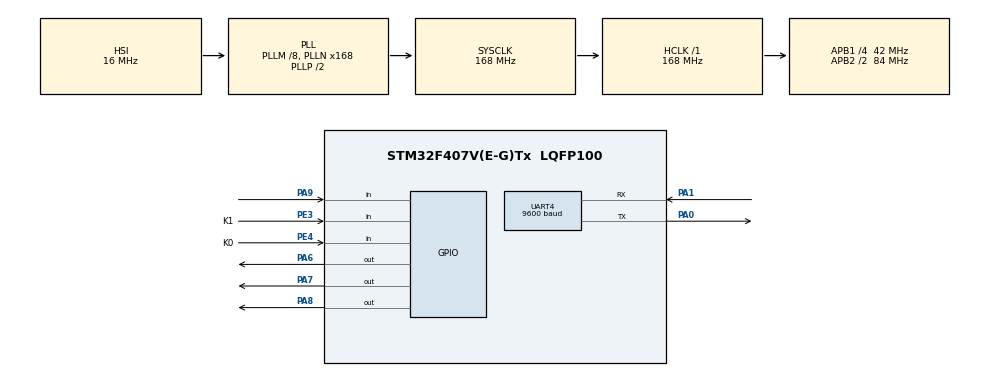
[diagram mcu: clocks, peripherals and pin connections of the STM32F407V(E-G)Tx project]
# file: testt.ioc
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Mcu.Family=STM32F4
Mcu.Name=STM32F407V(E-G)Tx
Mcu.Package=LQFP100
NVIC.PriorityGroup=NVIC_PRIORITYGROUP_4
NVIC.UART4_IRQn=true\:0\:0\:false\:false\:true\:true\:true\:true
PA0-WKUP.Mode=Asynchronous
PA0-WKUP.Signal=UART4_TX
PA1.Mode=Asynchronous
PA1.Signal=UART4_RX
PA13.Mode=Serial_Wire
PA13.Signal=SYS_JTMS-SWDIO
PA14.Mode=Serial_Wire
PA14.Signal=SYS_JTCK-SWCLK
PA6.Signal=GPIO_Output
PA7.Signal=GPIO_Output
PA8.Signal=GPIO_Output
PA9.GPIO_PuPd=GPIO_PULLUP
PA9.Signal=GPIO_Input
PE3.GPIO_Label=K1
PE3.GPIO_PuPd=GPIO_PULLUP
PE3.Signal=GPIO_Input
PE4.GPIO_Label=K0
PE4.GPIO_PuPd=GPIO_PULLUP
PE4.Signal=GPIO_Input
PH0-OSC_IN.Mode=HSE-External-Oscillator
PH0-OSC_IN.Signal=RCC_OSC_IN
PH1-OSC_OUT.Mode=HSE-External-Oscillator
PH1-OSC_OUT.Signal=RCC_OSC_OUT
ProjectManager.HeapSize=0x200
ProjectManager.StackSize=0x400
ProjectManager.TargetToolchain=STM32CubeIDE
RCC.48MHZClocksFreq_Value=84000000
RCC.AHBFreq_Value=168000000
RCC.APB1CLKDivider=RCC_HCLK_DIV4
RCC.APB1Freq_Value=42000000
RCC.APB1TimFreq_Value=84000000
RCC.APB2CLKDivider=RCC_HCLK_DIV2
RCC.APB2Freq_Value=84000000
RCC.APB2TimFreq_Value=168000000
RCC.CortexFreq_Value=168000000
RCC.HCLKFreq_Value=168000000
RCC.HSE_VALUE=25000000
RCC.HSI_VALUE=16000000
RCC.LSE_VALUE=32768
RCC.PLLM=8
RCC.PLLN=168
RCC.SYSCLKFreq_VALUE=168000000
RCC.SYSCLKSource=RCC_SYSCLKSOURCE_PLLCLK
RCC.VCOOutputFreq_Value=336000000
UART4.BaudRate=9600
UART4.VirtualMode=Asynchronous
board=custom

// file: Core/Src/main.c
/* USER CODE BEGIN Header */
/**
 ******************************************************************************
 * @file           : main.c
 * @brief          : Main program body
 ******************************************************************************
 * @attention
 *
 * Copyright (c) 2025 STMicroelectronics.
 * All rights reserved.
 *
 * This software is licensed under terms that can be found in the LICENSE file
 * in the root directory of this software component.
 * If no LICENSE file comes with this software, it is provided AS-IS.
 *
 ******************************************************************************
 */
/* USER CODE END Header */
#include "main.h"

/* USER CODE BEGIN Includes */
#include "command_rev.h"
#include "string.h"
#include "locker_func.h"
/* USER CODE END Includes */

UART_HandleTypeDef huart4;

void SystemClock_Config(void);
static void MX_GPIO_Init(void);
void MX_UART4_Init(void);

/* USER CODE BEGIN 0 */
uint8_t ADDRESS = 0x40;
uint32_t BAUD_RATE = 9600;
uint8_t UNLOCK_TIME = 20; //10ms step
uint8_t func_code = 0;
uint8_t tx_buff[30];
uint8_t rx_buff[30];
FLASH_EraseInitTypeDef FlashErase;

/* USER CODE END 0 */

int main(void)
{

  /* MCU Configuration--------------------------------------------------------*/

  /* Reset of all peripherals, Initializes the Flash interface and the Systick. */
  HAL_Init();

  /* Configure the system clock */
  SystemClock_Config();

  /* Initialize all configured peripherals */
  MX_GPIO_Init();
  MX_UART4_Init();
  /* USER CODE BEGIN 2 */
	//HAL_GPIO_WritePin(GPIOA, GPIO_PIN_8, GPIO_PIN_SET);
	//HAL_UART_Transmit(&huart4, "STart", 5, 1000);
	//HAL_GPIO_WritePin(GPIOA, GPIO_PIN_8, GPIO_PIN_RESET);
	HAL_GPIO_WritePin(GPIOA, GPIO_PIN_6, GPIO_PIN_SET);
	HAL_GPIO_WritePin(GPIOA, GPIO_PIN_7, GPIO_PIN_SET);
	//HAL_UART_Receive_IT(&huart4, rx_buff, 5);
	HAL_UARTEx_ReceiveToIdle_IT(&huart4, rx_buff, 30);
	//flash_init();
  /* USER CODE END 2 */

  /* Infinite loop */
  /* USER CODE BEGIN WHILE */

	while (1) {
		HAL_Delay(1);
		switch (func_code) {
		case 1:
			broadcast_func();
			break;
		case 2:
			getMCUID_func();
			break;
		case 3:
			readConfig_func();
			break;
		case 4:
			writeConfig_func();
			break;
		case 5:
			readChannelStatus_func();
			break;
		case 6:
			writeChannel_func();
			break;
		case 7:
			readChannelSignalStatus_func();
			break;
		case 8:
			unlock_func();
			break;
		case 9:
			rusc1_func();
			break;
		case 10:
			rusc2_func();
			break;
		case 11:
			rusc3_func();
			break;
		default:
			if(HAL_GPIO_ReadPin(GPIOA, GPIO_PIN_9) == 0){
				unlock_all();
			}
			continue;
		}
		memset(rx_buff, 0, sizeof(rx_buff));
		func_code = 0;
    /* USER CODE END WHILE */

	}
}

void SystemClock_Config(void)
{
  RCC_OscInitTypeDef RCC_OscInitStruct = {0};
  RCC_ClkInitTypeDef RCC_ClkInitStruct = {0};

  /** Configure the main internal regulator output voltage
  */
  __HAL_RCC_PWR_CLK_ENABLE();
  __HAL_PWR_VOLTAGESCALING_CONFIG(PWR_REGULATOR_VOLTAGE_SCALE1);

  /** Initializes the RCC Oscillators according to the specified parameters
  * in the RCC_OscInitTypeDef structure.
  */
  RCC_OscInitStruct.OscillatorType = RCC_OSCILLATORTYPE_HSI;
  RCC_OscInitStruct.HSIState = RCC_HSI_ON;
  RCC_OscInitStruct.HSICalibrationValue = RCC_HSICALIBRATION_DEFAULT;
  RCC_OscInitStruct.PLL.PLLState = RCC_PLL_ON;
  RCC_OscInitStruct.PLL.PLLSource = RCC_PLLSOURCE_HSI;
  RCC_OscInitStruct.PLL.PLLM = 8;
  RCC_OscInitStruct.PLL.PLLN = 168;
  RCC_OscInitStruct.PLL.PLLP = RCC_PLLP_DIV2;
  RCC_OscInitStruct.PLL.PLLQ = 4;
  if (HAL_RCC_OscConfig(&RCC_OscInitStruct) != HAL_OK)
  {
    Error_Handler();
  }

  /** Initializes the CPU, AHB and APB buses clocks
  */
  RCC_ClkInitStruct.ClockType = RCC_CLOCKTYPE_HCLK|RCC_CLOCKTYPE_SYSCLK
                              |RCC_CLOCKTYPE_PCLK1|RCC_CLOCKTYPE_PCLK2;
  RCC_ClkInitStruct.SYSCLKSource = RCC_SYSCLKSOURCE_PLLCLK;
  RCC_ClkInitStruct.AHBCLKDivider = RCC_SYSCLK_DIV1;
  RCC_ClkInitStruct.APB1CLKDivider = RCC_HCLK_DIV4;
  RCC_ClkInitStruct.APB2CLKDivider = RCC_HCLK_DIV2;

  if (HAL_RCC_ClockConfig(&RCC_ClkInitStruct, FLASH_LATENCY_5) != HAL_OK)
  {
    Error_Handler();
  }
}

void MX_UART4_Init(void)
{

  huart4.Instance = UART4;
  huart4.Init.BaudRate = 9600;
  huart4.Init.WordLength = UART_WORDLENGTH_8B;
  huart4.Init.StopBits = UART_STOPBITS_1;
  huart4.Init.Parity = UART_PARITY_NONE;
  huart4.Init.Mode = UART_MODE_TX_RX;
  huart4.Init.HwFlowCtl = UART_HWCONTROL_NONE;
  huart4.Init.OverSampling = UART_OVERSAMPLING_16;
  if (HAL_UART_Init(&huart4) != HAL_OK)
  {
    Error_Handler();
  }

}

static void MX_GPIO_Init(void)
{
  GPIO_InitTypeDef GPIO_InitStruct = {0};

  /* GPIO Ports Clock Enable */
  __HAL_RCC_GPIOE_CLK_ENABLE();
  __HAL_RCC_GPIOH_CLK_ENABLE();
  __HAL_RCC_GPIOA_CLK_ENABLE();

  /*Configure GPIO pin Output Level */
  HAL_GPIO_WritePin(GPIOA, GPIO_PIN_6|GPIO_PIN_7|GPIO_PIN_8, GPIO_PIN_RESET);

  /*Configure GPIO pins : K1_Pin K0_Pin */
  GPIO_InitStruct.Pin = K1_Pin|K0_Pin;
  GPIO_InitStruct.Mode = GPIO_MODE_INPUT;
  GPIO_InitStruct.Pull = GPIO_PULLUP;
  HAL_GPIO_Init(GPIOE, &GPIO_InitStruct);

  /*Configure GPIO pins : PA6 PA7 PA8 */
  GPIO_InitStruct.Pin = GPIO_PIN_6|GPIO_PIN_7|GPIO_PIN_8;
  GPIO_InitStruct.Mode = GPIO_MODE_OUTPUT_PP;
  GPIO_InitStruct.Pull = GPIO_NOPULL;
  GPIO_InitStruct.Speed = GPIO_SPEED_FREQ_LOW;
  HAL_GPIO_Init(GPIOA, &GPIO_InitStruct);

  /*Configure GPIO pin : PA9 */
  GPIO_InitStruct.Pin = GPIO_PIN_9;
  GPIO_InitStruct.Mode = GPIO_MODE_INPUT;
  GPIO_InitStruct.Pull = GPIO_PULLUP;
  HAL_GPIO_Init(GPIOA, &GPIO_InitStruct);

}

void Error_Handler(void)
{
	__disable_irq();
	while (1) {
	}
}
